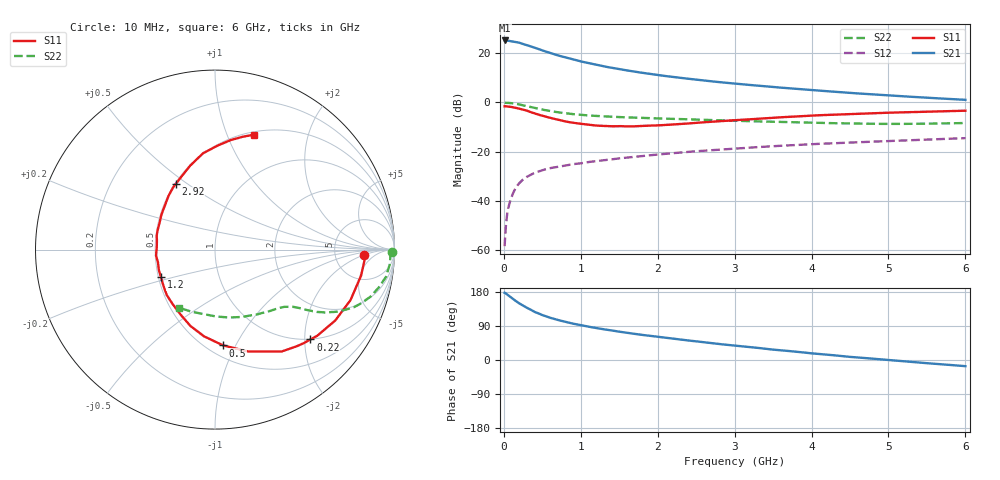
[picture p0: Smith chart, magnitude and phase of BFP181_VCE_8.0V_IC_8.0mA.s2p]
! Infineon Technologies  Discrete & RF Semiconductors
! BFP181
! VCE = 8.0 V,  IC =  8.0 mA
! Common Emitter S-Parameters:  Jan 2016
# GHz  S  MA  R  50
!  f  S11  S21  S12  S22
! GHz  MAG  ANG  MAG  ANG  MAG  ANG  MAG  ANG
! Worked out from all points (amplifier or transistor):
!   210 points, 10 MHz to 6 GHz, reference 50 ohm
!   highest |S21| = 25.1 dB at 10 MHz (marker M1)
!   |S21| within 3 dB of that: start of sweep to 407 MHz
!   unconditionally stable (mu >= 1): 1.53 GHz to end of sweep
!   at 185 MHz: K = 0.21, MSG = 28.9 dB, |S12| = -33.4 dB
!   at 1.52 GHz: K = 1.00, MSG = 18.0 dB, |S12| = -22.7 dB
!   at 6 GHz: K = 1.04, MAG = 6.6 dB, |S12| = -14.5 dB
!   S11 on the Smith chart (normalised r, x): 10 MHz: 10, -2; 220 MHz: 0.99, -2.13; 500 MHz: 0.60, -0.89; 1.2 GHz: 0.52, -0.18; 2.92 GHz: 0.51, +0.45; 6 GHz: 0.53, +1.25
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0.01  0.8307 -2.1  18.07 177.4  0.0012 84.3  0.9845 -0.7
0.02  0.8347 -4.2  18.05 176.5  0.0022 88.0  0.9777 -1.7
0.05  0.8268 -10.1  17.95 171.7  0.0063 88.7  0.9781 -4.6
0.15  0.7778 -30.5  16.91 156.5  0.0178 73.3  0.9366 -13.0
0.2  0.7449 -40.1  16.27 149.5  0.0228 69.9  0.9057 -16.8
0.22  0.7303 -43.3  15.86 147.1  0.0245 68.0  0.8912 -18.0
0.3  0.6785 -56.8  14.54 137.8  0.0307 62.5  0.8367 -22.6
0.4  0.5979 -71.8  12.91 126.9  0.0371 57.9  0.769 -26.7
0.5  0.5359 -85.1  11.34 118.6  0.0418 53.1  0.7118 -29.5
0.6  0.4871 -97.2  10.14 111.6  0.0461 51.0  0.6668 -31.4
0.7  0.447 -107.8  9.002 105.7  0.0491 49.4  0.6297 -32.7
0.8  0.41 -117.8  8.191 100.4  0.052 48.3  0.6013 -33.7
1.02  0.3655 -138.1  6.677 91.0  0.0585 46.8  0.5541 -35.5
1.2  0.338 -152.8  5.793 84.4  0.0638 45.6  0.53 -36.9
1.5  0.3301 -174.2  4.738 74.7  0.0729 45.1  0.5018 -39.4
2.02  0.3415 155.2  3.552 60.7  0.0878 43.1  0.4708 -45.1
2.4  0.3727 138.5  3.011 51.4  0.0989 41.2  0.4525 -50.3
2.92  0.4253 121.1  2.472 39.6  0.1131 38.2  0.4269 -58.0
3.1  0.4425 116.0  2.329 36.1  0.118 37.0  0.4184 -61.0
4.1  0.5475 95.3  1.732 15.9  0.1437 29.6  0.383 -80.1
5.1  0.6216 80.8  1.354 -1.7  0.166 22.7  0.3647 -101.7
6  0.6765 71.2  1.125 -16.3  0.1876 16.0  0.381 -122.0
